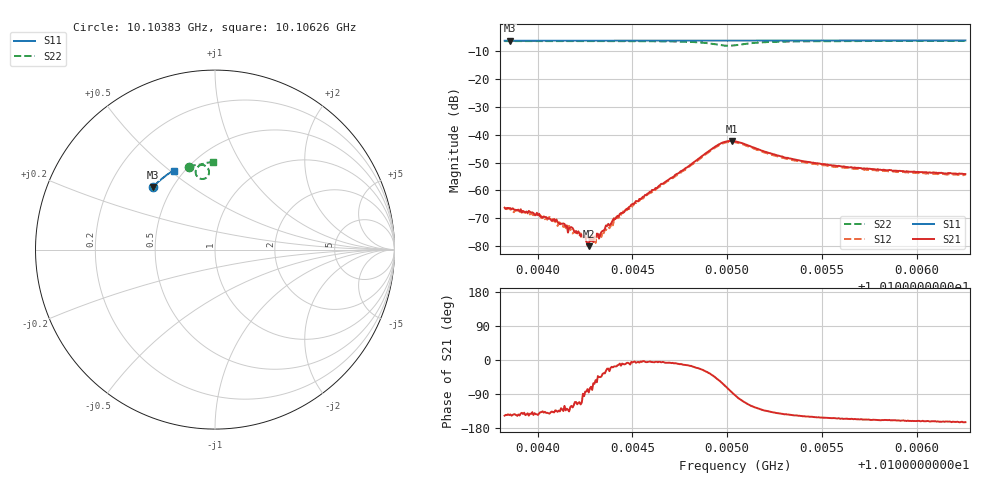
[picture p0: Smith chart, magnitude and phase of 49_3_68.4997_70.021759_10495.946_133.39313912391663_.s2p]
#  HZ  S  RI  R  50.00
! Rohde & Schwarz Vector Network Analyzer
! Rohde-Schwarz,ZNB20-2Port,1311601062101988,3.16
! Created: UTC 3/20/2024, 4:50:46 PM
! freq[Hz]  re:S11  im:S11  re:S21  im:S21  re:S12  im:S12  re:S22  im:S22
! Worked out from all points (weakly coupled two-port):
!   401 points, 10.10383 GHz to 10.10626 GHz, reference 50 ohm
!   highest |S21| = -42.22 dB at 10.10502 GHz (marker M1); lowest = -80.1 dB at 10.10427 GHz (marker M2)
!   lowest |S11| = -6.2 dB at 10.10386 GHz (marker M3), VSWR 2.93, Z = 19.7 + j18.1 ohm
!   |S11| at or under -10 dB: nowhere
!   |S22| runs from -8.0 to -6.2 dB; largest |S21 - S12| = 0.00078
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1.0103826e10  -0.3457 0.3484  -0.000407 -0.000267  -0.00036 -0.000312  -0.1465 0.4606
1.0103856e10  -0.3444 0.3496  -0.000385 -0.000283  -0.000352 -0.000281  -0.1444 0.4614
1.0103965e10  -0.3399 0.3547  -0.000315 -0.000245  -0.000294 -0.000245  -0.137 0.4636
1.0104069e10  -0.3355 0.3591  -0.00022 -0.000198  -0.000226 -0.000202  -0.1296 0.4659
1.0104142e10  -0.3322 0.3625  -0.000128 -0.000212  -0.000128 -0.000192  -0.1243 0.4673
1.010416e10  -0.3315 0.3631  -0.000114 -0.00013  -0.000106 -0.000176  -0.123 0.4678
1.0104178e10  -0.3308 0.364  -0.000112 -0.000185  -7.94e-05 -0.000163  -0.1216 0.4682
1.0104233e10  -0.3283 0.3662  -6.07e-05 -0.000148  -2.79e-05 -0.000128  -0.1173 0.4691
1.0104269e10  -0.3268 0.3678  7.5e-06 -9.84e-05  4.55e-05 -0.000133  -0.1145 0.47
1.0104294e10  -0.3257 0.3687  5.55e-05 -0.000102  5.63e-05 -0.000122  -0.1125 0.4705
1.0104342e10  -0.3237 0.3709  0.000149 -0.000111  0.000162 -8.08e-05  -0.1085 0.4711
1.0104409e10  -0.3206 0.3737  0.00029 -8.68e-05  0.000277 -4.46e-05  -0.1029 0.4721
1.0104452e10  -0.3187 0.3753  0.000387 -7.32e-05  0.000416 -4.83e-05  -0.0989 0.4728
1.010464e10  -0.3103 0.3831  0.0012 -9.39e-05  0.00114 -4.27e-06  -0.0785 0.4737
1.0104938e10  -0.2961 0.3944  0.00427 -0.00442  0.00446 -0.00385  -0.0341 0.4223
1.0104981e10  -0.294 0.396  0.00319 -0.0066  0.00362 -0.00602  -0.0483 0.4004
1.0105023e10  -0.2922 0.3976  0.000722 -0.00771  0.00137 -0.00729  -0.0761 0.3937
1.0105041e10  -0.2914 0.3981  -0.000388 -0.00762  0.000293 -0.00731  -0.0873 0.3973
1.0105272e10  -0.2807 0.407  -0.00324 -0.00266  -0.00288 -0.00279  -0.0944 0.4621
1.0105449e10  -0.2721 0.4135  -0.00272 -0.00158  -0.00245 -0.00173  -0.0751 0.4747
1.0105856e10  -0.2517 0.4274  -0.00216 -0.000867  -0.00196 -0.00097  -0.0411 0.4844
1.0106257e10  -0.2307 0.4401  -0.00188 -0.000538  -0.00177 -0.000705  -0.0122 0.4879
